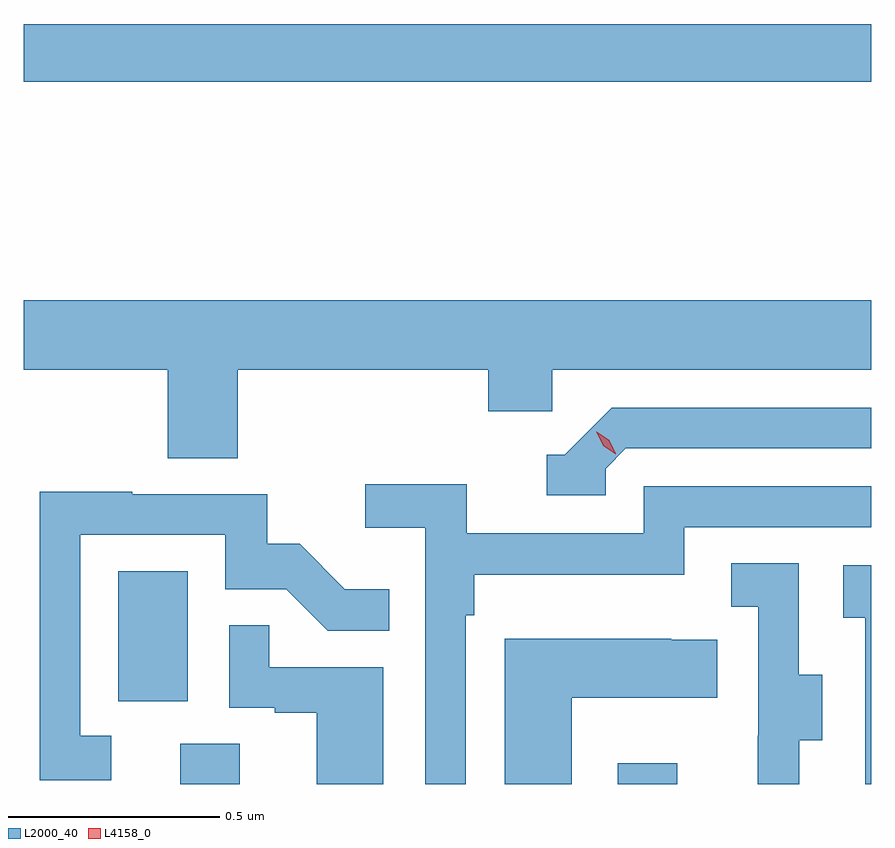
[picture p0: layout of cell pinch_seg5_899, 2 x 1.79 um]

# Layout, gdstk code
import gdstk
lib = gdstk.Library(unit=1e-6, precision=1e-09)
def R(c, l, rs):  # rectangles x0, y0, x1, y1
    for r in rs: c.add(gdstk.rectangle(r[:2], r[2:], *l))
def P(c, l, *ps):  # polygons
    for p in ps: c.add(gdstk.Polygon(p, *l))
L2000_40 = (2000, 40)
L4158_0 = (4158, 0)

pinch_seg5_899 = lib.new_cell('pinch_seg5_899')
R(pinch_seg5_899, L2000_40, [(864.101,891.747,864.241,891.842), (865.133,891.747,865.273,891.796), (863.954,891.942,864.118,892.249), (863.731,893.404,865.731,893.54)])
P(pinch_seg5_899, L2000_40, [(864.236,892.724),(864.827,892.724),(864.827,892.626),(864.978,892.626),(864.978,892.724),(865.731,892.724),(865.731,892.888),(863.731,892.888),(863.731,892.724),(864.071,892.724),(864.071,892.516),(864.236,892.516)],
  [(865.104,892.491),(865.152,892.539),(865.731,892.539),(865.731,892.635),(865.119,892.635),(865.008,892.524),(864.965,892.524),(864.965,892.428),(865.104,892.428)],
  [(864.774,892.145),(864.794,892.145),(864.794,892.241),(865.29,892.241),(865.29,892.353),(865.731,892.353),(865.731,892.449),(865.194,892.449),(865.194,892.338),(864.776,892.338),(864.776,892.454),(864.537,892.454),(864.537,892.352),(864.678,892.352),(864.678,891.747),(864.774,891.747)],
  [(863.938,891.861),(863.865,891.861),(863.865,892.335),(864.207,892.335),(864.207,892.206),(864.351,892.206),(864.449,892.108),(864.593,892.108),(864.593,892.207),(864.489,892.207),(864.382,892.314),(864.306,892.314),(864.306,892.431),(863.987,892.431),(863.987,892.436),(863.769,892.436),(863.769,891.756),(863.938,891.756)],
  [(865.561,891.85),(865.615,891.85),(865.615,892.005),(865.56,892.005),(865.56,892.268),(865.401,892.268),(865.401,892.165),(865.464,892.165),(865.464,891.861),(865.463,891.861),(865.463,891.747),(865.561,891.747)],
  [(865.731,892.263),(865.665,892.263),(865.665,892.139),(865.716,892.139),(865.716,891.747),(865.731,891.747)],
  [(864.58,892.023),(864.311,892.023),(864.311,892.121),(864.216,892.121),(864.216,891.927),(864.323,891.927),(864.323,891.915),(864.422,891.915),(864.422,891.747),(864.58,891.747)],
  [(865.024,891.95),(865.367,891.95),(865.367,892.087),(865.259,892.087),(865.259,892.09),(864.866,892.09),(864.866,891.747),(865.024,891.747)])
P(pinch_seg5_899, L4158_0, [(865.128,892.525),(865.098,892.545),(865.082,892.578),(865.082,892.578),(865.083,892.578),(865.113,892.558),(865.128,892.526),(865.128,892.525)])

lib.write_gds('pinch_seg5_899.gds')
